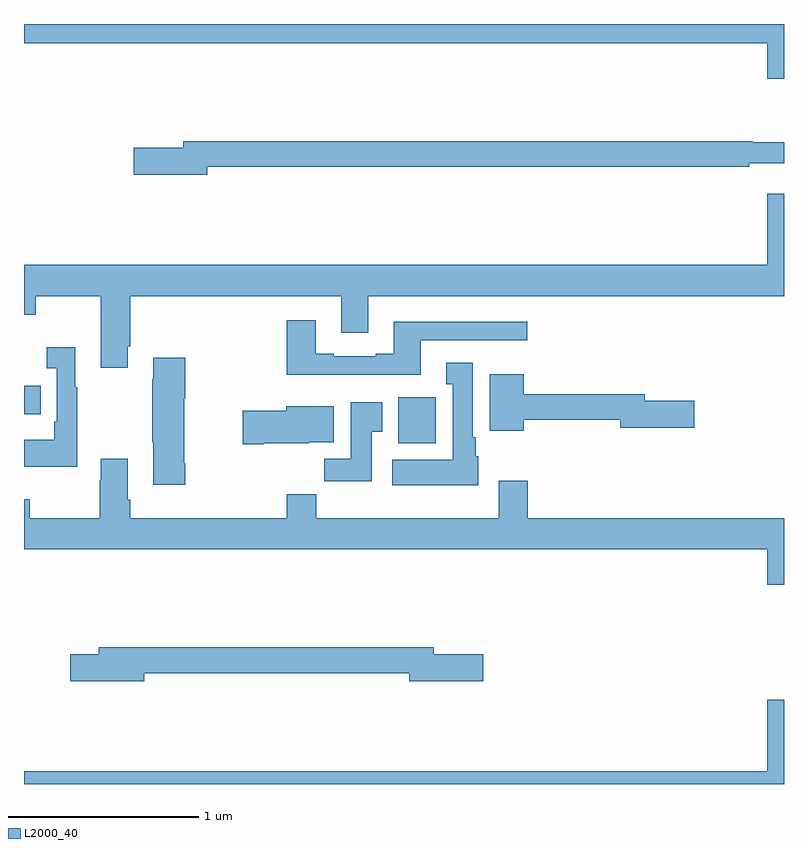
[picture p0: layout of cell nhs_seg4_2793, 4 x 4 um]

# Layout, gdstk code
import gdstk
lib = gdstk.Library(unit=1e-6, precision=1e-09)
def R(c, l, rs):  # rectangles x0, y0, x1, y1
    for r in rs: c.add(gdstk.rectangle(r[:2], r[2:], *l))
def P(c, l, *ps):  # polygons
    for p in ps: c.add(gdstk.Polygon(p, *l))
L2000_40 = (2000, 40)

nhs_seg4_2793 = lib.new_cell('nhs_seg4_2793')
R(nhs_seg4_2793, L2000_40, [(258.971,814.694,259.168,814.936), (257,814.847,257.087,814.995)])
P(nhs_seg4_2793, L2000_40, [(261,816.9),(257,816.9),(257,816.8),(260.912,816.8),(260.912,816.612),(261,816.612)],
  [(257.965,816.148),(260.816,816.148),(260.816,816.167),(261,816.167),(261,816.277),(260.836,816.277),(260.836,816.284),(257.837,816.284),(257.837,816.248),(257.577,816.248),(257.577,816.106),(257.965,816.106)],
  [(257.545,815.203),(257.558,815.203),(257.558,815.468),(258.671,815.468),(258.671,815.274),(258.811,815.274),(258.811,815.468),(261,815.468),(261,816.007),(260.912,816.007),(260.912,815.632),(257,815.632),(257,815.369),(257.061,815.369),(257.061,815.468),(257.405,815.468),(257.405,815.091),(257.545,815.091)],
  [(259.087,815.235),(259.648,815.235),(259.648,815.332),(258.947,815.332),(258.947,815.164),(258.851,815.164),(258.851,815.151),(258.631,815.151),(258.631,815.164),(258.535,815.164),(258.535,815.341),(258.383,815.341),(258.383,815.054),(259.087,815.054)],
  [(257.281,814.987),(257.269,814.987),(257.269,815.2),(257.121,815.2),(257.121,815.087),(257.172,815.087),(257.172,814.807),(257.16,814.807),(257.16,814.711),(257,814.711),(257,814.571),(257.281,814.571)],
  [(257.849,814.588),(257.844,814.588),(257.844,814.93),(257.849,814.93),(257.849,815.143),(257.681,815.143),(257.681,815.03),(257.674,815.03),(257.674,814.699),(257.681,814.699),(257.681,814.476),(257.849,814.476)],
  [(259.39,814.626),(259.378,814.626),(259.378,814.726),(259.363,814.726),(259.363,815.116),(259.223,815.116),(259.223,815.003),(259.256,815.003),(259.256,814.606),(258.939,814.606),(258.939,814.472),(259.39,814.472)],
  [(259.63,814.816),(260.138,814.816),(260.138,814.774),(260.527,814.774),(260.527,814.916),(260.266,814.916),(260.266,814.952),(259.63,814.952),(259.63,815.056),(259.451,815.056),(259.451,814.76),(259.63,814.76)],
  [(258.829,814.753),(258.886,814.753),(258.886,814.909),(258.719,814.909),(258.719,814.612),(258.58,814.612),(258.58,814.494),(258.829,814.494)],
  [(258.262,814.694),(258.498,814.694),(258.498,814.7),(258.631,814.7),(258.631,814.888),(258.38,814.888),(258.38,814.865),(258.15,814.865),(258.15,814.687),(258.262,814.687)],
  [(261,814.3),(259.652,814.3),(259.652,814.495),(259.499,814.495),(259.499,814.3),(258.539,814.3),(258.539,814.424),(258.383,814.424),(258.383,814.3),(257.558,814.3),(257.558,814.396),(257.545,814.396),(257.545,814.612),(257.405,814.612),(257.405,814.499),(257.398,814.499),(257.398,814.3),(257.031,814.3),(257.031,814.399),(257,814.399),(257,814.136),(260.912,814.136),(260.912,813.948),(261,813.948)],
  [(257.632,813.484),(259.028,813.484),(259.028,813.442),(259.416,813.442),(259.416,813.584),(259.156,813.584),(259.156,813.62),(257.393,813.62),(257.393,813.584),(257.244,813.584),(257.244,813.442),(257.632,813.442)],
  [(261,813.343),(260.912,813.343),(260.912,812.968),(257,812.968),(257,812.9),(261,812.9)])

lib.write_gds('nhs_seg4_2793.gds')
